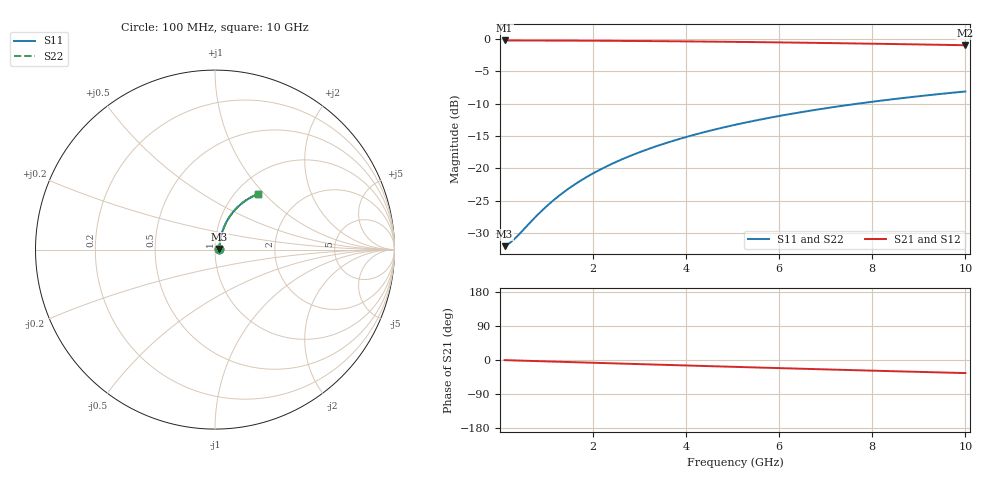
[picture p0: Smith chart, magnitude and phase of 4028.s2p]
# Hz S RI R 50.00
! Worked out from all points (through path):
!   100 points, 100 MHz to 10 GHz, reference 50 ohm
!   highest |S21| = -0.22 dB at 100 MHz (marker M1); lowest = -1.0 dB at 10 GHz (marker M2)
!   group delay of S21, straight-line fit = 9.62 ps
!   lowest |S11| = -32.0 dB at 100 MHz (marker M3), VSWR 1.05, Z = 52.5 + j0.447 ohm
!   |S11| at or under -10 dB: start of sweep to 7.685 GHz
!   |S22| runs from -32.0 to -8.1 dB; largest |S21 - S12| = 0
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1e8  0.0246 0.00426  0.9754 -0.00621  0.9754 -0.00621  0.0246 0.00426
2e8  0.0249 0.00851  0.9751 -0.0124  0.9751 -0.0124  0.0249 0.00851
3e8  0.0251 0.0128  0.9749 -0.0186  0.9749 -0.0186  0.0251 0.0128
4e8  0.0254 0.017  0.9746 -0.0248  0.9746 -0.0248  0.0254 0.017
8e8  0.027 0.0339  0.9729 -0.0495  0.9729 -0.0495  0.027 0.0339
1.1e9  0.0287 0.0465  0.9711 -0.068  0.9711 -0.068  0.0287 0.0465
1.4e9  0.0308 0.0591  0.9688 -0.0864  0.9688 -0.0864  0.0308 0.0591
1.6e9  0.0325 0.0674  0.967 -0.0986  0.967 -0.0986  0.0325 0.0674
1.8e9  0.0344 0.0756  0.965 -0.1107  0.965 -0.1107  0.0344 0.0756
2.1e9  0.0376 0.0878  0.9616 -0.1289  0.9616 -0.1289  0.0376 0.0878
2.5e9  0.0425 0.1039  0.9562 -0.1527  0.9562 -0.1527  0.0425 0.1039
2.9e9  0.0483 0.1197  0.9501 -0.1763  0.9501 -0.1763  0.0483 0.1197
3.4e9  0.0565 0.1388  0.9412 -0.2053  0.9412 -0.2053  0.0565 0.1388
3.8e9  0.0639 0.1537  0.9333 -0.228  0.9333 -0.228  0.0639 0.1537
4.2e9  0.0719 0.1681  0.9246 -0.2502  0.9246 -0.2502  0.0719 0.1681
4.6e9  0.0806 0.1819  0.9152 -0.272  0.9152 -0.272  0.0806 0.1819
5.1e9  0.0924 0.1986  0.9025 -0.2984  0.9025 -0.2984  0.0924 0.1986
5.9e9  0.113 0.2233  0.8802 -0.339  0.8802 -0.339  0.113 0.2233
6.7e9  0.1355 0.2456  0.8556 -0.3771  0.8556 -0.3771  0.1355 0.2456
7.5e9  0.1596 0.2654  0.8292 -0.4128  0.8292 -0.4128  0.1596 0.2654
8.4e9  0.1882 0.2844  0.7977 -0.4498  0.7977 -0.4498  0.1882 0.2844
1e10  0.2416 0.31  0.7383 -0.5075  0.7383 -0.5075  0.2416 0.31
